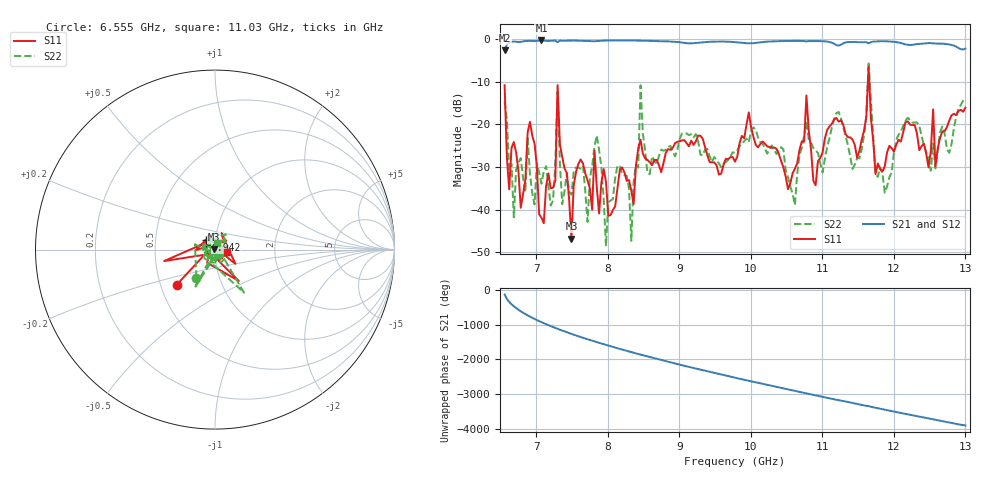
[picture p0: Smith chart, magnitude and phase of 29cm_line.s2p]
!Keysight Technologies,N5241B,MY57181531,A.15.65.19
!Date: Tuesday, December 03, 2024 16:32:31
!Correction: S11(C  2-Port  )
!S21(C  2-Port  )
!S12(C  2-Port  )
!S22(C  2-Port  )
!S2P File: Measurements: S11, S21, S12, S22:
# Hz S  dB  R 50
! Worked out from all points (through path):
!   201 points, 6.555 GHz to 13 GHz, reference 50 ohm
!   highest |S21| = -0.25 dB at 7.071 GHz (marker M1); lowest = -2.6 dB at 6.555 GHz (marker M2)
!   lowest |S11| = -46.9 dB at 7.49 GHz (marker M3), VSWR 1.01, Z = 49.6 + j0.0764 ohm
!   |S11| at or under -10 dB: start of sweep to 11.64 GHz; 11.66 GHz to end of sweep
!   |S22| runs from -48.6 to -5.2 dB; largest |S21 - S12| = 0.013
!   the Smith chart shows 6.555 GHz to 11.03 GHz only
!   S11 on the Smith chart (normalised r, x): 6.555 GHz: 0.61, -0.26; 6.942 GHz: 0.90, +0.10; 11.03 GHz: 1.14, -0.03
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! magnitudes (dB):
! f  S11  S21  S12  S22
! 6.555 GHz  -10.8  -2.6  -2.5  -14.6
! 6.619 GHz  -35.3  -0.8  -0.7  -30.8
! 6.942 GHz  -22.6  -0.4  -0.4  -36.1
! 7.071 GHz  -41.9  -0.2  -0.2  -33.9
! 7.232 GHz  -34.9  -0.3  -0.3  -37.9
! 7.296 GHz  -10.7  -0.7  -0.7  -12.3
! 7.49 GHz  -46.9  -0.3  -0.2  -36.5
! 7.651 GHz  -29.1  -0.3  -0.3  -29.7
! 7.844 GHz  -34.7  -0.4  -0.4  -22.6
! 7.973 GHz  -33.5  -0.3  -0.3  -48.6
! 8.134 GHz  -35.0  -0.3  -0.3  -29.6
! 8.327 GHz  -35.6  -0.3  -0.2  -47.4
! 8.456 GHz  -23.6  -0.3  -0.3  -10.8
! 8.714 GHz  -29.6  -0.4  -0.4  -27.4
! 9.777 GHz  -28.8  -0.6  -0.6  -26.7
! 10.78 GHz  -13.2  -0.5  -0.5  -19.6
! 10.87 GHz  -33.2  -0.4  -0.4  -25.5
! 11.03 GHz  -23.3  -0.4  -0.5  -28.1
! 11.65 GHz  -6.5  -0.9  -0.9  -5.2
! 11.74 GHz  -31.7  -0.5  -0.5  -31.7
! 11.94 GHz  -25.0  -0.5  -0.5  -32.4
! 13 GHz  -16.0  -2.2  -2.2  -14.2
